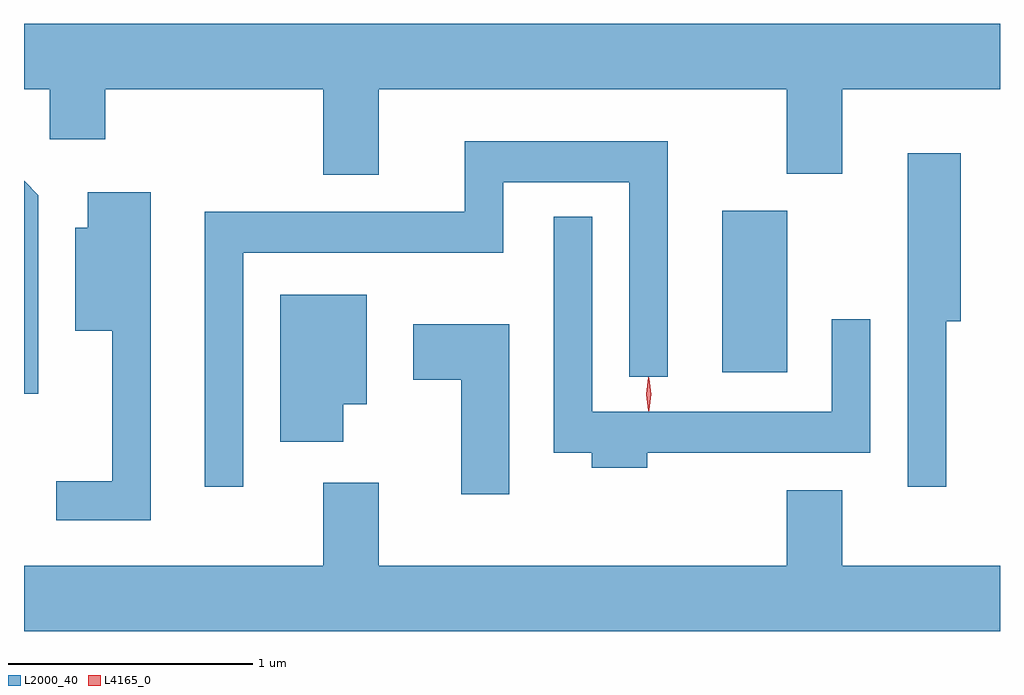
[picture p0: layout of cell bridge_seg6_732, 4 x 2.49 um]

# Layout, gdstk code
import gdstk
lib = gdstk.Library(unit=1e-6, precision=1e-09)
def R(c, l, rs):  # rectangles x0, y0, x1, y1
    for r in rs: c.add(gdstk.rectangle(r[:2], r[2:], *l))
def P(c, l, *ps):  # polygons
    for p in ps: c.add(gdstk.Polygon(p, *l))
L2000_40 = (2000, 40)
L4165_0 = (4165, 0)

bridge_seg6_732 = lib.new_cell('bridge_seg6_732')
R(bridge_seg6_732, L2000_40, [(502.376,1575.516,502.644,1576.179)])
P(bridge_seg6_732, L2000_40, [(500.969,1576.676),(502.641,1576.676),(502.641,1576.331),(502.869,1576.331),(502.869,1576.676),(503.515,1576.676),(503.515,1576.944),(499.515,1576.944),(499.515,1576.676),(499.621,1576.676),(499.621,1576.471),(499.849,1576.471),(499.849,1576.676),(500.741,1576.676),(500.741,1576.326),(500.969,1576.326)],
  [(500.414,1576.006),(501.479,1576.006),(501.479,1576.296),(501.996,1576.296),(501.996,1575.498),(502.154,1575.498),(502.154,1576.464),(501.321,1576.464),(501.321,1576.174),(500.256,1576.174),(500.256,1575.048),(500.414,1575.048)],
  [(503.294,1575.726),(503.354,1575.726),(503.354,1576.414),(503.136,1576.414),(503.136,1575.048),(503.294,1575.048)],
  [(499.574,1576.242),(499.515,1576.301),(499.515,1575.428),(499.574,1575.428)],
  [(500.034,1576.254),(499.776,1576.254),(499.776,1576.109),(499.726,1576.109),(499.726,1575.686),(499.876,1575.686),(499.876,1575.069),(499.648,1575.069),(499.648,1574.911),(500.034,1574.911)],
  [(502.069,1575.186),(502.984,1575.186),(502.984,1575.733),(502.826,1575.733),(502.826,1575.354),(501.844,1575.354),(501.844,1576.153),(501.686,1576.153),(501.686,1575.186),(501.841,1575.186),(501.841,1575.126),(502.069,1575.126)],
  [(500.824,1575.386),(500.919,1575.386),(500.919,1575.834),(500.566,1575.834),(500.566,1575.231),(500.824,1575.231)],
  [(501.504,1575.714),(501.111,1575.714),(501.111,1575.486),(501.306,1575.486),(501.306,1575.016),(501.504,1575.016)],
  [(503.515,1574.724),(502.869,1574.724),(502.869,1575.034),(502.641,1575.034),(502.641,1574.724),(500.969,1574.724),(500.969,1575.064),(500.741,1575.064),(500.741,1574.724),(499.515,1574.724),(499.515,1574.456),(503.515,1574.456)])
P(bridge_seg6_732, L4165_0, [(502.075,1575.357),(502.074,1575.358),(502.065,1575.427),(502.074,1575.496),(502.075,1575.496),(502.076,1575.496),(502.085,1575.426),(502.075,1575.358)],
  [(502.077,1575.359),(502.076,1575.36),(502.067,1575.426),(502.076,1575.492),(502.076,1575.493),(502.077,1575.492),(502.086,1575.426),(502.077,1575.36)])

lib.write_gds('bridge_seg6_732.gds')
